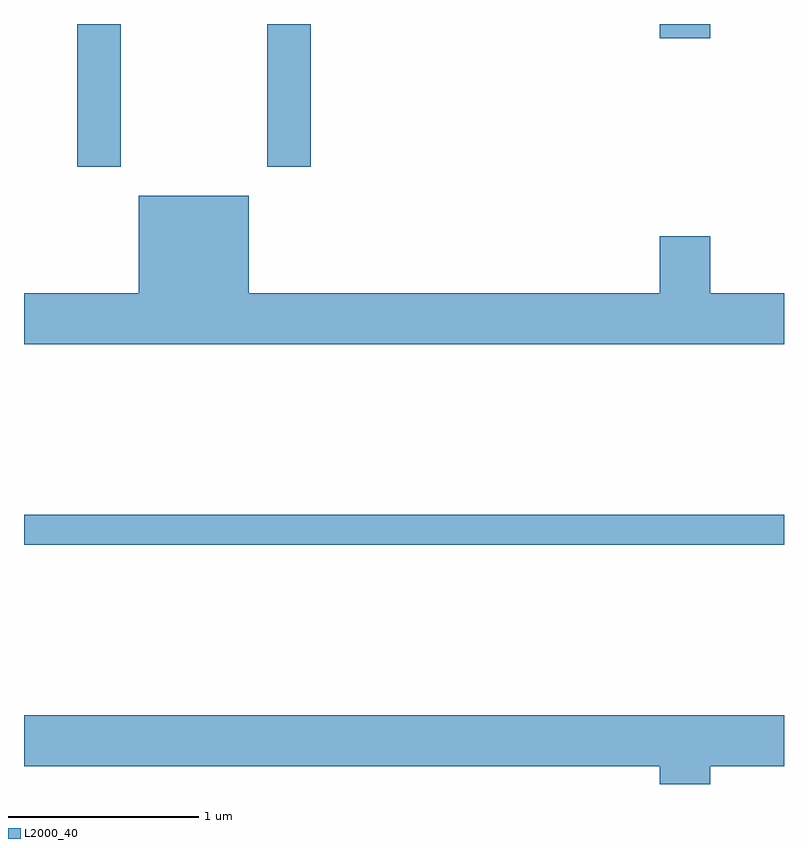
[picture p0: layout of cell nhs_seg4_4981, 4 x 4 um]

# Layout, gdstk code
import gdstk
lib = gdstk.Library(unit=1e-6, precision=1e-09)
def R(c, l, rs):  # rectangles x0, y0, x1, y1
    for r in rs: c.add(gdstk.rectangle(r[:2], r[2:], *l))
def P(c, l, *ps):  # polygons
    for p in ps: c.add(gdstk.Polygon(p, *l))
L2000_40 = (2000, 40)

nhs_seg4_4981 = lib.new_cell('nhs_seg4_4981')
R(nhs_seg4_4981, L2000_40, [(331.611,1289.241,335.611,1289.399), (331.891,1291.231,332.119,1291.982), (332.891,1291.231,333.119,1291.982), (334.956,1291.906,335.224,1291.982)])
P(nhs_seg4_4981, L2000_40, [(335.611,1290.564),(335.224,1290.564),(335.224,1290.864),(334.956,1290.864),(334.956,1290.564),(332.794,1290.564),(332.794,1291.079),(332.216,1291.079),(332.216,1290.564),(331.611,1290.564),(331.611,1290.296),(335.611,1290.296)],
  [(335.224,1288.076),(335.611,1288.076),(335.611,1288.344),(331.611,1288.344),(331.611,1288.076),(334.956,1288.076),(334.956,1287.982),(335.224,1287.982)])

lib.write_gds('nhs_seg4_4981.gds')
